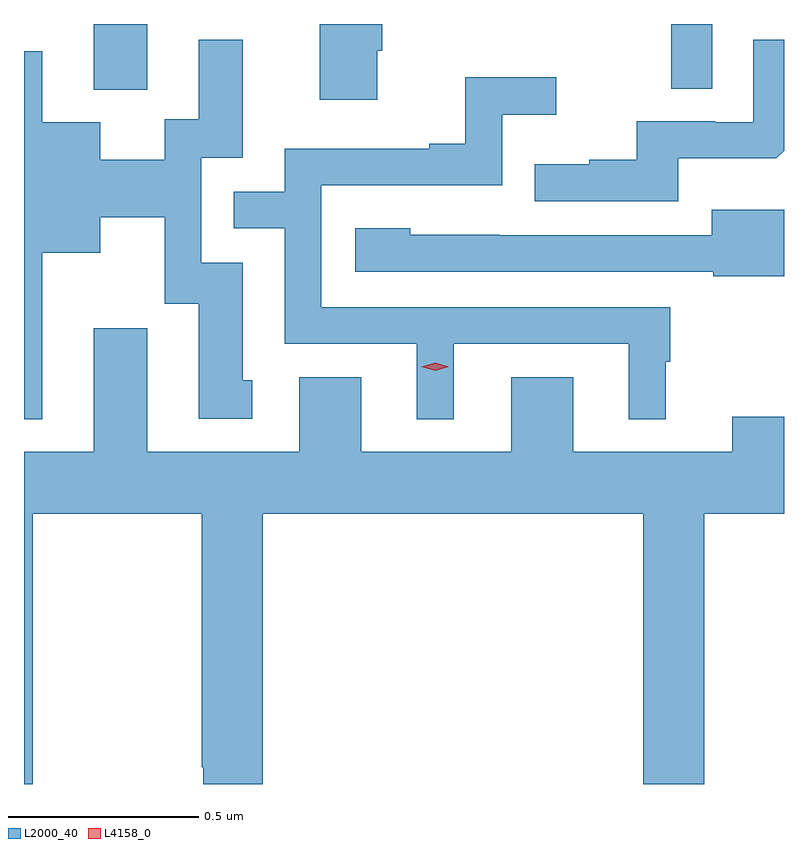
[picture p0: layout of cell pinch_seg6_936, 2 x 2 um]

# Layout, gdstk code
import gdstk
lib = gdstk.Library(unit=1e-6, precision=1e-09)
def R(c, l, rs):  # rectangles x0, y0, x1, y1
    for r in rs: c.add(gdstk.rectangle(r[:2], r[2:], *l))
def P(c, l, *ps):  # polygons
    for p in ps: c.add(gdstk.Polygon(p, *l))
L2000_40 = (2000, 40)
L4158_0 = (4158, 0)

pinch_seg6_936 = lib.new_cell('pinch_seg6_936')
R(pinch_seg6_936, L2000_40, [(179.915,925.808,180.055,925.981), (181.434,925.81,181.542,925.981)])
P(pinch_seg6_936, L2000_40, [(180.661,925.911),(180.674,925.911),(180.674,925.981),(180.509,925.981),(180.509,925.782),(180.661,925.782)],
  [(181.453,925.628),(181.711,925.628),(181.731,925.647),(181.731,925.939),(181.65,925.939),(181.65,925.722),(181.55,925.722),(181.55,925.725),(181.343,925.725),(181.343,925.624),(181.219,925.624),(181.219,925.612),(181.075,925.612),(181.075,925.515),(181.453,925.515)],
  [(179.779,925.379),(179.932,925.379),(179.932,925.472),(180.102,925.472),(180.102,925.245),(180.191,925.245),(180.191,924.942),(180.331,924.942),(180.331,925.044),(180.307,925.044),(180.307,925.353),(180.198,925.353),(180.198,925.629),(180.307,925.629),(180.307,925.939),(180.191,925.939),(180.191,925.73),(180.101,925.73),(180.101,925.624),(179.932,925.624),(179.932,925.723),(179.779,925.723),(179.779,925.909),(179.731,925.909),(179.731,924.941),(179.779,924.941)],
  [(180.862,925.14),(181.322,925.14),(181.322,924.941),(181.42,924.941),(181.42,925.092),(181.432,925.092),(181.432,925.236),(180.513,925.236),(180.513,925.557),(180.99,925.557),(180.99,925.742),(181.132,925.742),(181.132,925.841),(180.892,925.841),(180.892,925.666),(180.797,925.666),(180.797,925.653),(180.417,925.653),(180.417,925.539),(180.283,925.539),(180.283,925.443),(180.417,925.443),(180.417,925.14),(180.764,925.14),(180.764,924.941),(180.862,924.941)],
  [(181.731,925.492),(181.541,925.492),(181.541,925.425),(180.983,925.425),(180.983,925.426),(180.747,925.426),(180.747,925.444),(180.603,925.444),(180.603,925.329),(181.545,925.329),(181.545,925.317),(181.731,925.317)],
  [(179.754,924.692),(180.199,924.692),(180.199,924.025),(180.203,924.025),(180.203,923.981),(180.359,923.981),(180.359,924.692),(181.361,924.692),(181.361,923.981),(181.521,923.981),(181.521,924.692),(181.731,924.692),(181.731,924.947),(181.595,924.947),(181.595,924.856),(181.177,924.856),(181.177,925.051),(181.013,925.051),(181.013,924.856),(180.619,924.856),(180.619,925.051),(180.455,925.051),(180.455,924.856),(180.055,924.856),(180.055,925.18),(179.915,925.18),(179.915,924.856),(179.731,924.856),(179.731,923.981),(179.754,923.981)])
P(pinch_seg6_936, L4158_0, [(180.813,925.069),(180.777,925.079),(180.777,925.079),(180.777,925.079),(180.813,925.089),(180.849,925.079),(180.849,925.079),(180.849,925.079)])

lib.write_gds('pinch_seg6_936.gds')
